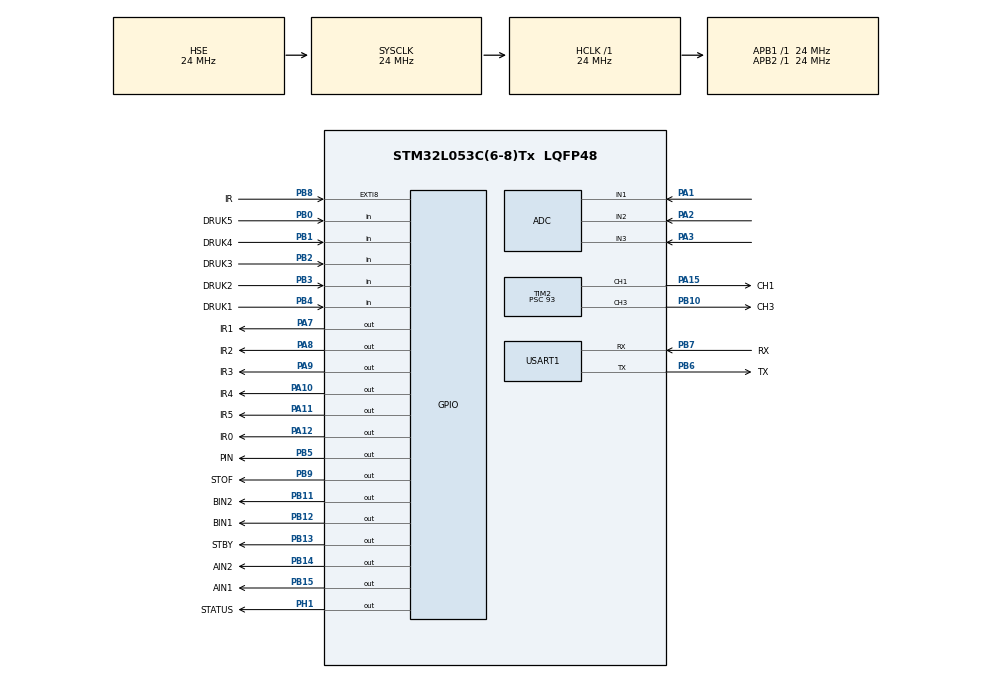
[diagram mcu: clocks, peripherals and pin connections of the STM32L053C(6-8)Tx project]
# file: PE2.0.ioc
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ADC.DiscontinuousConvMode=ENABLE
ADC.EOCSelection=ADC_EOC_SINGLE_CONV
Mcu.Family=STM32L0
Mcu.Name=STM32L053C(6-8)Tx
Mcu.Package=LQFP48
NVIC.EXTI4_15_IRQn=true\:0\:0\:false\:false\:true\:true\:true\:true
NVIC.TIM6_DAC_IRQn=true\:0\:0\:false\:false\:true\:true\:true\:true
PA1.Mode=IN1
PA1.Signal=ADC_IN1
PA10.GPIO_Label=IR4
PA10.GPIO_ModeDefaultOutputPP=GPIO_MODE_OUTPUT_PP
PA10.GPIO_PuPd=GPIO_NOPULL
PA10.GPIO_Speed=GPIO_SPEED_FREQ_LOW
PA10.PinState=GPIO_PIN_RESET
PA10.Signal=GPIO_Output
PA11.GPIO_Label=IR5
PA11.GPIO_ModeDefaultOutputPP=GPIO_MODE_OUTPUT_PP
PA11.GPIO_PuPd=GPIO_NOPULL
PA11.GPIO_Speed=GPIO_SPEED_FREQ_LOW
PA11.PinState=GPIO_PIN_RESET
PA11.Signal=GPIO_Output
PA12.GPIO_Label=IR0
PA12.GPIO_ModeDefaultOutputPP=GPIO_MODE_OUTPUT_PP
PA12.GPIO_PuPd=GPIO_NOPULL
PA12.GPIO_Speed=GPIO_SPEED_FREQ_LOW
PA12.PinState=GPIO_PIN_RESET
PA12.Signal=GPIO_Output
PA13.Mode=Serial_Wire
PA13.Signal=SYS_SWDIO
PA14.Mode=Serial_Wire
PA14.Signal=SYS_SWCLK
PA15.GPIO_Label=CH1
PA15.GPIO_ModeDefaultPP=GPIO_MODE_AF_PP
PA15.GPIO_PuPd=GPIO_NOPULL
PA15.GPIO_Speed=GPIO_SPEED_FREQ_LOW
PA15.Signal=S_TIM2_CH1
PA2.Mode=IN2
PA2.Signal=ADC_IN2
PA3.Mode=IN3
PA3.Signal=ADC_IN3
PA7.GPIO_Label=IR1
PA7.GPIO_ModeDefaultOutputPP=GPIO_MODE_OUTPUT_PP
PA7.GPIO_PuPd=GPIO_NOPULL
PA7.GPIO_Speed=GPIO_SPEED_FREQ_LOW
PA7.PinState=GPIO_PIN_RESET
PA7.Signal=GPIO_Output
PA8.GPIO_Label=IR2
PA8.GPIO_ModeDefaultOutputPP=GPIO_MODE_OUTPUT_PP
PA8.GPIO_PuPd=GPIO_NOPULL
PA8.GPIO_Speed=GPIO_SPEED_FREQ_LOW
PA8.PinState=GPIO_PIN_RESET
PA8.Signal=GPIO_Output
PA9.GPIO_Label=IR3
PA9.GPIO_ModeDefaultOutputPP=GPIO_MODE_OUTPUT_PP
PA9.GPIO_PuPd=GPIO_NOPULL
PA9.GPIO_Speed=GPIO_SPEED_FREQ_LOW
PA9.PinState=GPIO_PIN_RESET
PA9.Signal=GPIO_Output
PB0.GPIO_Label=DRUK5
PB0.GPIO_Mode=GPIO_MODE_INPUT
PB0.GPIO_PuPd=GPIO_PULLUP
PB0.Signal=GPIO_Input
PB1.GPIO_Label=DRUK4
PB1.GPIO_Mode=GPIO_MODE_INPUT
PB1.GPIO_PuPd=GPIO_PULLUP
PB1.Signal=GPIO_Input
PB10.GPIO_Label=CH3
PB10.GPIO_ModeDefaultPP=GPIO_MODE_AF_PP
PB10.GPIO_PuPd=GPIO_NOPULL
PB10.GPIO_Speed=GPIO_SPEED_FREQ_LOW
PB10.Signal=S_TIM2_CH3
PB11.GPIO_Label=BIN2
PB11.Signal=GPIO_Output
PB12.GPIO_Label=BIN1
PB12.Signal=GPIO_Output
PB13.GPIO_Label=STBY
PB13.Signal=GPIO_Output
PB14.GPIO_Label=AIN2
PB14.Signal=GPIO_Output
PB15.GPIO_Label=AIN1
PB15.Signal=GPIO_Output
PB2.GPIO_Label=DRUK3
PB2.GPIO_Mode=GPIO_MODE_INPUT
PB2.GPIO_PuPd=GPIO_PULLUP
PB2.Signal=GPIO_Input
PB3.GPIO_Label=DRUK2
PB3.GPIO_Mode=GPIO_MODE_INPUT
PB3.GPIO_PuPd=GPIO_PULLUP
PB3.Signal=GPIO_Input
PB4.GPIO_Label=DRUK1
PB4.GPIO_Mode=GPIO_MODE_INPUT
PB4.GPIO_PuPd=GPIO_PULLUP
PB4.Signal=GPIO_Input
PB5.GPIO_Label=PIN
PB5.Signal=GPIO_Output
PB6.GPIO_Label=TX
PB6.Mode=Asynchronous
PB6.Signal=USART1_TX
PB7.GPIO_Label=RX
PB7.Mode=Asynchronous
PB7.Signal=USART1_RX
PB8.GPIO_Label=IR
PB8.GPIO_ModeDefaultEXTI=GPIO_MODE_IT_FALLING
PB8.Signal=GPXTI8
PB9.GPIO_Label=STOF
PB9.Signal=GPIO_Output
PH0-OSC_IN.GPIO_Label=OSC
PH0-OSC_IN.Mode=HSE-External-Clock-Source
PH0-OSC_IN.Signal=RCC_OSC_IN
PH1-OSC_OUT.GPIO_Label=STATUS
PH1-OSC_OUT.Signal=GPIO_Output
ProjectManager.HeapSize=0x200
ProjectManager.StackSize=0x400
ProjectManager.TargetToolchain=STM32CubeIDE
RCC.AHBFreq_Value=24000000
RCC.APB1Freq_Value=24000000
RCC.APB1TimFreq_Value=24000000
RCC.APB2Freq_Value=24000000
RCC.APB2TimFreq_Value=24000000
RCC.HCLKFreq_Value=24000000
RCC.HSE_VALUE=24000000
RCC.HSI16_VALUE=16000000
RCC.HSI48_VALUE=48000000
RCC.HSI_VALUE=16000000
RCC.LSE_VALUE=32768
RCC.MSI_VALUE=2097000
RCC.SYSCLKFreq_VALUE=24000000
RCC.SYSCLKSource=RCC_SYSCLKSOURCE_HSE
RCC.VCOOutputFreq_Value=48000000
SH.S_TIM2_CH1.0=TIM2_CH1,PWM Generation1 CH1
SH.S_TIM2_CH3.0=TIM2_CH3,PWM Generation3 CH3
TIM2.AutoReloadPreload=TIM_AUTORELOAD_PRELOAD_ENABLE
TIM2.Channel-PWM\ Generation1\ CH1=TIM_CHANNEL_1
TIM2.Channel-PWM\ Generation3\ CH3=TIM_CHANNEL_3
TIM2.Period=255
TIM2.Prescaler=93
TIM6.AutoReloadPreload=TIM_AUTORELOAD_PRELOAD_ENABLE
TIM6.Period=255
TIM6.Prescaler=192
USART1.VirtualMode-Asynchronous=VM_ASYNC
VP_TIM2_VS_ClockSourceINT.Mode=Internal
VP_TIM6_VS_ClockSourceINT.Mode=Enable_Timer
board=custom

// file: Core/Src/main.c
/* USER CODE BEGIN Header */
/**
  ******************************************************************************
  * @file           : main.c
  * @brief          : Main program body
  ******************************************************************************
  * @attention
  *
  * Copyright (c) 2025 STMicroelectronics.
  * All rights reserved.
  *
  * This software is licensed under terms that can be found in the LICENSE file
  * in the root directory of this software component.
  * If no LICENSE file comes with this software, it is provided AS-IS.
  *
  ******************************************************************************
  */
/* USER CODE END Header */
#include "main.h"

/* USER CODE BEGIN Includes */
#include <stdio.h>
#include <string.h>
/* USER CODE END Includes */

/* USER CODE BEGIN PM */
#define VOORUIT (GPIOB->BSRR = 0xF800B000);
#define ACHTERUIT (GPIOB->BSRR = 0xF8006800);
#define LINKS (GPIOB->BSRR = 0xF800A800);
#define RECHTS (GPIOB->BSRR = 0xF8007000);
#define UIT (GPIOB->BSRR = 0xF8000000);
#define NORMAL_SPEED 255;
#define DOCK_SPEED 125;
#define IR_SENSOR_COUNT 3
#define IR_SENSOR_DISTANCE 1500
#define IR_MID_SENSOR_DISTANCE 2200
/* USER CODE END PM */

ADC_HandleTypeDef hadc;

TIM_HandleTypeDef htim2;
TIM_HandleTypeDef htim6;

UART_HandleTypeDef huart1;

/* USER CODE BEGIN PV */
uint8_t sample = 0;
uint8_t data = 0;
uint8_t data_ready = 0;
uint8_t data_beacon = 0;
/* USER CODE END PV */

void SystemClock_Config(void);
static void MX_GPIO_Init(void);
static void MX_ADC_Init(void);
static void MX_TIM2_Init(void);
static void MX_USART1_UART_Init(void);
static void MX_TIM6_Init(void);
/* USER CODE BEGIN PFP */
int _write(int, char *, int);
void HAL_TIM_PeriodElapsedCallback (TIM_HandleTypeDef *);
void HAL_GPIO_EXTI_Callback(uint16_t);
void readAdc(uint32_t []);
uint8_t driveDock(uint8_t, uint32_t [], uint8_t *, uint8_t *);
void driveNormal(uint32_t []);
/* USER CODE END PFP */

/* USER CODE BEGIN 0 */
int _write(int file, char *ptr, int len) {
	for(int i = 0; i < len; i++){
		if(ptr[i]=='\n'){
			HAL_UART_Transmit(&huart1, (uint8_t*)"\r", 1, HAL_MAX_DELAY);
		}
		HAL_UART_Transmit(&huart1, (uint8_t*)&ptr[i], 1, HAL_MAX_DELAY);
	}
    return len;
}
void HAL_TIM_PeriodElapsedCallback (TIM_HandleTypeDef *htim)
{
	//HAL_GPIO_TogglePin(PIN_GPIO_Port, PIN_Pin);
	sample = !HAL_GPIO_ReadPin(IR_GPIO_Port, IR_Pin); //MSB eerst
	data = (data << 1) | sample; //actief lage pin => bit toggelen
	HAL_TIM_Base_Stop_IT(&htim6);
	__HAL_TIM_SET_COUNTER(&htim6, 0);
	if ((data == 0xa4) || (data == 0xa8) || (data == 0xac))
	{
		data_ready = data;
	}
	if (data == 0xa1)
	{
		data_beacon = data;
	}
}
void HAL_GPIO_EXTI_Callback(uint16_t IR_EXTI_IRQn)
{
	HAL_TIM_Base_Start_IT(&htim6);
}
void readAdc(uint32_t result[])
{
	ADC_ChannelConfTypeDef sConfig = {0};

	sConfig.Channel = ADC_CHANNEL_3;
	HAL_ADC_ConfigChannel(&hadc, &sConfig);
	HAL_ADC_Start(&hadc);
	HAL_ADC_PollForConversion(&hadc, 1);
	result[1] = HAL_ADC_GetValue(&hadc);

	sConfig.Channel = ADC_CHANNEL_2;
	HAL_ADC_ConfigChannel(&hadc, &sConfig);
	HAL_ADC_Start(&hadc);
	HAL_ADC_PollForConversion(&hadc, 1);
	result[2] = HAL_ADC_GetValue(&hadc);

	sConfig.Channel = ADC_CHANNEL_1;
	HAL_ADC_ConfigChannel(&hadc, &sConfig);
	HAL_ADC_Start(&hadc);
	HAL_ADC_PollForConversion(&hadc, 1);
	result[0] = HAL_ADC_GetValue(&hadc);

	printf("RECHTS: %ld, MIDDEN: %ld, LINKS: %ld\n", result[0], result[2], result[1]);
}
uint8_t driveDock(uint8_t state_dock, uint32_t adc_values[], uint8_t *drive_dock, uint8_t *detect_dock)
{
	switch (state_dock)
	{
	case 0:
		readAdc(adc_values);
		driveNormal(adc_values);

		if (data_ready == 0xac)
		{
			(*detect_dock)++;
		}

		if (*detect_dock == 100) //150 ms delay
		{
			state_dock = 1;
			HAL_GPIO_WritePin(STOF_GPIO_Port, STOF_Pin, 0);
		}
		break;
	case 1:
		if (data_ready == 0xa4)
		{
			VOORUIT;
			htim2.Instance->CCR1 = DOCK_SPEED; //Duty Cycle op 50% => led 38kHz
			htim2.Instance->CCR3 = 0; //Duty Cycle op 50% => led 38kHz
		}
		else if (data_ready == 0xa8)
		{
			VOORUIT;
			htim2.Instance->CCR1 = 0; //Duty Cycle op 50% => led 38kHz
			htim2.Instance->CCR3 = DOCK_SPEED; //Duty Cycle op 50% => led 38kHz
		}
		else if (data_ready == 0xac)
		{
			VOORUIT;
			htim2.Instance->CCR1 = DOCK_SPEED; //Duty Cycle op 50% => led 38kHz
			htim2.Instance->CCR3 = DOCK_SPEED; //Duty Cycle op 50% => led 38kHz
		}

		readAdc(adc_values);
		if (adc_values[2] > IR_MID_SENSOR_DISTANCE)
		{
			state_dock = 2;
		}
		break;
	case 2:
		UIT;
		data_ready = 0;
		data_beacon = 0;
		if (!HAL_GPIO_ReadPin(DRUK2_GPIO_Port, DRUK2_Pin))
		{
			while (!HAL_GPIO_ReadPin(DRUK2_GPIO_Port, DRUK2_Pin));
			HAL_GPIO_WritePin(STOF_GPIO_Port, STOF_Pin, 1);
			ACHTERUIT;
			htim2.Instance->CCR1 = NORMAL_SPEED; //Duty Cycle op 50% => led 38kHz
			htim2.Instance->CCR3 = NORMAL_SPEED; //Duty Cycle op 50% => led 38kHz
			HAL_Delay(500);
			RECHTS;
			htim2.Instance->CCR1 = NORMAL_SPEED; //Duty Cycle op 50% => led 38kHz
			htim2.Instance->CCR3 = NORMAL_SPEED; //Duty Cycle op 50% => led 38kHz
			HAL_Delay(2500);
			*drive_dock = 0;
			*detect_dock = 0;
			state_dock = 0;
		}
		break;
	}
	return state_dock;
}
void driveNormal(uint32_t adc_values[])
{
	HAL_GPIO_WritePin(STOF_GPIO_Port, STOF_Pin, 1);
	htim2.Instance->CCR1 = NORMAL_SPEED; //Duty Cycle op 50% => led 38kHz
	htim2.Instance->CCR3 = NORMAL_SPEED; //Duty Cycle op 50% => led 38kHz
	if (adc_values[0] > IR_SENSOR_DISTANCE && adc_values[1] < IR_SENSOR_DISTANCE)
	{
		LINKS;
		//VOORUIT;
		//htim2.Instance->CCR1 = NORMAL_SPEED; //Duty Cycle op 50% => led 38kHz
		//htim2.Instance->CCR3 = 0; //Duty Cycle op 50% => led 38kHz
	}
	else if (adc_values[1] > IR_SENSOR_DISTANCE && adc_values[0] < IR_SENSOR_DISTANCE)
	{
		RECHTS;
		//VOORUIT;
		//htim2.Instance->CCR1 = 0; //Duty Cycle op 50% => led 38kHz
		//htim2.Instance->CCR3 = NORMAL_SPEED; //Duty Cycle op 50% => led 38kHz
	}
	else if (adc_values[0] > IR_MID_SENSOR_DISTANCE && adc_values[1] > IR_MID_SENSOR_DISTANCE)
	{
		ACHTERUIT;
		HAL_Delay(500);
		if (adc_values[0] > adc_values[1])
		{
			LINKS;
			HAL_Delay(2500);
		}
		else
		{	RECHTS;
			HAL_Delay(2500);
		}
	}
	else if (adc_values[2] > IR_MID_SENSOR_DISTANCE)
	{
		ACHTERUIT;
		HAL_Delay(500);
		if (adc_values[0] > adc_values[1])
		{
			LINKS;
			HAL_Delay(2500);
		}
		else
		{
			RECHTS;
			HAL_Delay(2500);
		}
	}
	else
	{
		VOORUIT;
		//htim2.Instance->CCR1 = NORMAL_SPEED; //Duty Cycle op 50% => led 38kHz
		//htim2.Instance->CCR3 = NORMAL_SPEED; //Duty Cycle op 50% => led 38kHz
	}
}
/* USER CODE END 0 */

int main(void)
{

  /* USER CODE BEGIN 1 */
	uint32_t adc_values[IR_SENSOR_COUNT];
	uint8_t drive_dock = 0;
	uint8_t state_dock = 0;
	uint8_t detect_dock = 0;
  /* USER CODE END 1 */

  /* MCU Configuration--------------------------------------------------------*/

  /* Reset of all peripherals, Initializes the Flash interface and the Systick. */
  HAL_Init();

  /* Configure the system clock */
  SystemClock_Config();

  /* Initialize all configured peripherals */
  MX_GPIO_Init();
  MX_ADC_Init();
  MX_TIM2_Init();
  MX_USART1_UART_Init();
  MX_TIM6_Init();
  /* USER CODE BEGIN 2 */
  HAL_GPIO_WritePin(IR1_GPIO_Port, IR1_Pin, 1);
  HAL_GPIO_WritePin(IR2_GPIO_Port, IR2_Pin, 1);
  HAL_GPIO_WritePin(IR3_GPIO_Port, IR3_Pin, 1);
  HAL_TIM_PWM_Start(&htim2, TIM_CHANNEL_1);
  HAL_TIM_PWM_Start(&htim2, TIM_CHANNEL_3);
  HAL_Delay(50); //sensors moeten opstarten
  /* USER CODE END 2 */

  /* Infinite loop */
  while (1)
  {

    /* USER CODE BEGIN 3 */
	  switch (drive_dock)
	  {
	  case 0:
		  if (!HAL_GPIO_ReadPin(DRUK2_GPIO_Port, DRUK2_Pin))
		  {
			  while (!HAL_GPIO_ReadPin(DRUK2_GPIO_Port, DRUK2_Pin));
			  drive_dock ^= 1;
		  }
		  readAdc(adc_values);
		  driveNormal(adc_values);
		  break;
	  case 1:
		  printf("data: %x, %x\n", data_ready, data_beacon);
		  state_dock = driveDock(state_dock, adc_values, &drive_dock, &detect_dock);
		  break;
	  }
  }
  /* USER CODE END 3 */
}

void SystemClock_Config(void)
{
  RCC_OscInitTypeDef RCC_OscInitStruct = {0};
  RCC_ClkInitTypeDef RCC_ClkInitStruct = {0};
  RCC_PeriphCLKInitTypeDef PeriphClkInit = {0};

  /** Configure the main internal regulator output voltage
  */
  __HAL_PWR_VOLTAGESCALING_CONFIG(PWR_REGULATOR_VOLTAGE_SCALE1);

  /** Initializes the RCC Oscillators according to the specified parameters
  * in the RCC_OscInitTypeDef structure.
  */
  RCC_OscInitStruct.OscillatorType = RCC_OSCILLATORTYPE_HSE;
  RCC_OscInitStruct.HSEState = RCC_HSE_BYPASS;
  RCC_OscInitStruct.PLL.PLLState = RCC_PLL_NONE;
  if (HAL_RCC_OscConfig(&RCC_OscInitStruct) != HAL_OK)
  {
    Error_Handler();
  }

  /** Initializes the CPU, AHB and APB buses clocks
  */
  RCC_ClkInitStruct.ClockType = RCC_CLOCKTYPE_HCLK|RCC_CLOCKTYPE_SYSCLK
                              |RCC_CLOCKTYPE_PCLK1|RCC_CLOCKTYPE_PCLK2;
  RCC_ClkInitStruct.SYSCLKSource = RCC_SYSCLKSOURCE_HSE;
  RCC_ClkInitStruct.AHBCLKDivider = RCC_SYSCLK_DIV1;
  RCC_ClkInitStruct.APB1CLKDivider = RCC_HCLK_DIV1;
  RCC_ClkInitStruct.APB2CLKDivider = RCC_HCLK_DIV1;

  if (HAL_RCC_ClockConfig(&RCC_ClkInitStruct, FLASH_LATENCY_1) != HAL_OK)
  {
    Error_Handler();
  }
  PeriphClkInit.PeriphClockSelection = RCC_PERIPHCLK_USART1;
  PeriphClkInit.Usart1ClockSelection = RCC_USART1CLKSOURCE_PCLK2;
  if (HAL_RCCEx_PeriphCLKConfig(&PeriphClkInit) != HAL_OK)
  {
    Error_Handler();
  }
}

static void MX_ADC_Init(void)
{

  ADC_ChannelConfTypeDef sConfig = {0};

  /** Configure the global features of the ADC (Clock, Resolution, Data Alignment and number of conversion)
  */
  hadc.Instance = ADC1;
  hadc.Init.OversamplingMode = DISABLE;
  hadc.Init.ClockPrescaler = ADC_CLOCK_SYNC_PCLK_DIV2;
  hadc.Init.Resolution = ADC_RESOLUTION_12B;
  hadc.Init.SamplingTime = ADC_SAMPLETIME_1CYCLE_5;
  hadc.Init.ScanConvMode = ADC_SCAN_DIRECTION_FORWARD;
  hadc.Init.DataAlign = ADC_DATAALIGN_RIGHT;
  hadc.Init.ContinuousConvMode = DISABLE;
  hadc.Init.DiscontinuousConvMode = ENABLE;
  hadc.Init.ExternalTrigConvEdge = ADC_EXTERNALTRIGCONVEDGE_NONE;
  hadc.Init.ExternalTrigConv = ADC_SOFTWARE_START;
  hadc.Init.DMAContinuousRequests = DISABLE;
  hadc.Init.EOCSelection = ADC_EOC_SINGLE_CONV;
  hadc.Init.Overrun = ADC_OVR_DATA_PRESERVED;
  hadc.Init.LowPowerAutoWait = DISABLE;
  hadc.Init.LowPowerFrequencyMode = DISABLE;
  hadc.Init.LowPowerAutoPowerOff = DISABLE;
  if (HAL_ADC_Init(&hadc) != HAL_OK)
  {
    Error_Handler();
  }

  /** Configure for the selected ADC regular channel to be converted.
  */
  sConfig.Channel = ADC_CHANNEL_1;
  sConfig.Rank = ADC_RANK_CHANNEL_NUMBER;
  if (HAL_ADC_ConfigChannel(&hadc, &sConfig) != HAL_OK)
  {
    Error_Handler();
  }

  /** Configure for the selected ADC regular channel to be converted.
  */
  sConfig.Channel = ADC_CHANNEL_2;
  if (HAL_ADC_ConfigChannel(&hadc, &sConfig) != HAL_OK)
  {
    Error_Handler();
  }

  /** Configure for the selected ADC regular channel to be converted.
  */
  sConfig.Channel = ADC_CHANNEL_3;
  if (HAL_ADC_ConfigChannel(&hadc, &sConfig) != HAL_OK)
  {
    Error_Handler();
  }

}

static void MX_TIM2_Init(void)
{

  TIM_ClockConfigTypeDef sClockSourceConfig = {0};
  TIM_MasterConfigTypeDef sMasterConfig = {0};
  TIM_OC_InitTypeDef sConfigOC = {0};

  htim2.Instance = TIM2;
  htim2.Init.Prescaler = 93;
  htim2.Init.CounterMode = TIM_COUNTERMODE_UP;
  htim2.Init.Period = 255;
  htim2.Init.ClockDivision = TIM_CLOCKDIVISION_DIV1;
  htim2.Init.AutoReloadPreload = TIM_AUTORELOAD_PRELOAD_ENABLE;
  if (HAL_TIM_Base_Init(&htim2) != HAL_OK)
  {
    Error_Handler();
  }
  sClockSourceConfig.ClockSource = TIM_CLOCKSOURCE_INTERNAL;
  if (HAL_TIM_ConfigClockSource(&htim2, &sClockSourceConfig) != HAL_OK)
  {
    Error_Handler();
  }
  if (HAL_TIM_PWM_Init(&htim2) != HAL_OK)
  {
    Error_Handler();
  }
  sMasterConfig.MasterOutputTrigger = TIM_TRGO_RESET;
  sMasterConfig.MasterSlaveMode = TIM_MASTERSLAVEMODE_DISABLE;
  if (HAL_TIMEx_MasterConfigSynchronization(&htim2, &sMasterConfig) != HAL_OK)
  {
    Error_Handler();
  }
  sConfigOC.OCMode = TIM_OCMODE_PWM1;
  sConfigOC.Pulse = 0;
  sConfigOC.OCPolarity = TIM_OCPOLARITY_HIGH;
  sConfigOC.OCFastMode = TIM_OCFAST_DISABLE;
  if (HAL_TIM_PWM_ConfigChannel(&htim2, &sConfigOC, TIM_CHANNEL_1) != HAL_OK)
  {
    Error_Handler();
  }
  if (HAL_TIM_PWM_ConfigChannel(&htim2, &sConfigOC, TIM_CHANNEL_3) != HAL_OK)
  {
    Error_Handler();
  }
  HAL_TIM_MspPostInit(&htim2);

}

static void MX_TIM6_Init(void)
{

  TIM_MasterConfigTypeDef sMasterConfig = {0};

  htim6.Instance = TIM6;
  htim6.Init.Prescaler = 192;
  htim6.Init.CounterMode = TIM_COUNTERMODE_UP;
  htim6.Init.Period = 255;
  htim6.Init.AutoReloadPreload = TIM_AUTORELOAD_PRELOAD_ENABLE;
  if (HAL_TIM_Base_Init(&htim6) != HAL_OK)
  {
    Error_Handler();
  }
  sMasterConfig.MasterOutputTrigger = TIM_TRGO_RESET;
  sMasterConfig.MasterSlaveMode = TIM_MASTERSLAVEMODE_DISABLE;
  if (HAL_TIMEx_MasterConfigSynchronization(&htim6, &sMasterConfig) != HAL_OK)
  {
    Error_Handler();
  }

}

static void MX_USART1_UART_Init(void)
{

  huart1.Instance = USART1;
  huart1.Init.BaudRate = 115200;
  huart1.Init.WordLength = UART_WORDLENGTH_8B;
  huart1.Init.StopBits = UART_STOPBITS_1;
  huart1.Init.Parity = UART_PARITY_NONE;
  huart1.Init.Mode = UART_MODE_TX_RX;
  huart1.Init.HwFlowCtl = UART_HWCONTROL_NONE;
  huart1.Init.OverSampling = UART_OVERSAMPLING_16;
  huart1.Init.OneBitSampling = UART_ONE_BIT_SAMPLE_DISABLE;
  huart1.AdvancedInit.AdvFeatureInit = UART_ADVFEATURE_NO_INIT;
  if (HAL_UART_Init(&huart1) != HAL_OK)
  {
    Error_Handler();
  }

}

static void MX_GPIO_Init(void)
{
  GPIO_InitTypeDef GPIO_InitStruct = {0};

  /* GPIO Ports Clock Enable */
  __HAL_RCC_GPIOH_CLK_ENABLE();
  __HAL_RCC_GPIOA_CLK_ENABLE();
  __HAL_RCC_GPIOB_CLK_ENABLE();

  /*Configure GPIO pin Output Level */
  HAL_GPIO_WritePin(STATUS_GPIO_Port, STATUS_Pin, GPIO_PIN_RESET);

  /*Configure GPIO pin Output Level */
  HAL_GPIO_WritePin(GPIOA, IR1_Pin|IR2_Pin|IR3_Pin|IR4_Pin
                          |IR5_Pin|IR0_Pin, GPIO_PIN_RESET);

  /*Configure GPIO pin Output Level */
  HAL_GPIO_WritePin(GPIOB, BIN2_Pin|BIN1_Pin|STBY_Pin|AIN2_Pin
                          |AIN1_Pin|PIN_Pin|STOF_Pin, GPIO_PIN_RESET);

  /*Configure GPIO pin : STATUS_Pin */
  GPIO_InitStruct.Pin = STATUS_Pin;
  GPIO_InitStruct.Mode = GPIO_MODE_OUTPUT_PP;
  GPIO_InitStruct.Pull = GPIO_NOPULL;
  GPIO_InitStruct.Speed = GPIO_SPEED_FREQ_LOW;
  HAL_GPIO_Init(STATUS_GPIO_Port, &GPIO_InitStruct);

  /*Configure GPIO pins : IR1_Pin IR2_Pin IR3_Pin IR4_Pin
                           IR5_Pin IR0_Pin */
  GPIO_InitStruct.Pin = IR1_Pin|IR2_Pin|IR3_Pin|IR4_Pin
                          |IR5_Pin|IR0_Pin;
  GPIO_InitStruct.Mode = GPIO_MODE_OUTPUT_PP;
  GPIO_InitStruct.Pull = GPIO_NOPULL;
  GPIO_InitStruct.Speed = GPIO_SPEED_FREQ_LOW;
  HAL_GPIO_Init(GPIOA, &GPIO_InitStruct);

  /*Configure GPIO pins : DRUK5_Pin DRUK4_Pin DRUK3_Pin DRUK2_Pin
                           DRUK1_Pin */
  GPIO_InitStruct.Pin = DRUK5_Pin|DRUK4_Pin|DRUK3_Pin|DRUK2_Pin
                          |DRUK1_Pin;
  GPIO_InitStruct.Mode = GPIO_MODE_INPUT;
  GPIO_InitStruct.Pull = GPIO_PULLUP;
  HAL_GPIO_Init(GPIOB, &GPIO_InitStruct);

  /*Configure GPIO pins : BIN2_Pin BIN1_Pin STBY_Pin AIN2_Pin
                           AIN1_Pin PIN_Pin STOF_Pin */
  GPIO_InitStruct.Pin = BIN2_Pin|BIN1_Pin|STBY_Pin|AIN2_Pin
                          |AIN1_Pin|PIN_Pin|STOF_Pin;
  GPIO_InitStruct.Mode = GPIO_MODE_OUTPUT_PP;
  GPIO_InitStruct.Pull = GPIO_NOPULL;
  GPIO_InitStruct.Speed = GPIO_SPEED_FREQ_LOW;
  HAL_GPIO_Init(GPIOB, &GPIO_InitStruct);

  /*Configure GPIO pin : IR_Pin */
  GPIO_InitStruct.Pin = IR_Pin;
  GPIO_InitStruct.Mode = GPIO_MODE_IT_FALLING;
  GPIO_InitStruct.Pull = GPIO_NOPULL;
  HAL_GPIO_Init(IR_GPIO_Port, &GPIO_InitStruct);

  /* EXTI interrupt init*/
  HAL_NVIC_SetPriority(EXTI4_15_IRQn, 0, 0);
  HAL_NVIC_EnableIRQ(EXTI4_15_IRQn);

}

void Error_Handler(void)
{
  __disable_irq();
  while (1)
  {
  }
}
